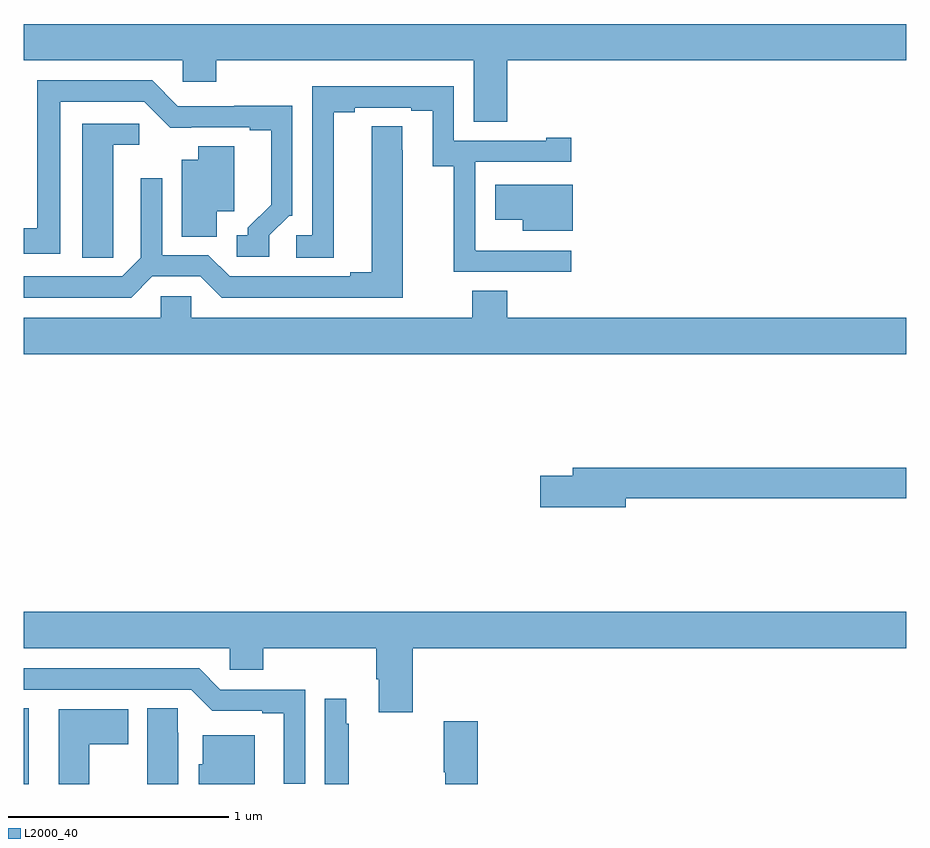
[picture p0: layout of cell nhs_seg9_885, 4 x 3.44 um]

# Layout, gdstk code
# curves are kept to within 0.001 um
import gdstk
lib = gdstk.Library(unit=1e-6, precision=1e-09)
def R(c, l, rs):  # rectangles x0, y0, x1, y1
    for r in rs: c.add(gdstk.rectangle(r[:2], r[2:], *l))
def P(c, l, *ps):  # polygons
    for p in ps: c.add(gdstk.Polygon(p, *l))
L2000_40 = (2000, 40)

nhs_seg9_885 = lib.new_cell('nhs_seg9_885')
R(nhs_seg9_885, L2000_40, [(159,1166.5,159.022,1166.843)])
P(nhs_seg9_885, L2000_40, [(161.192,1169.78),(163,1169.78),(163,1169.944),(159,1169.944),(159,1169.78),(159.72,1169.78),(159.72,1169.682),(159.872,1169.682),(159.872,1169.78),(161.039,1169.78),(161.039,1169.5),(161.192,1169.5)],
  [(160.113,1168.986),(160.203,1169.076),(160.218,1169.076),(160.218,1169.573),(159.955,1169.573),(159.955,1169.571),(159.699,1169.571),(159.582,1169.688),(159.062,1169.688),(159.062,1169.018),(159,1169.018),(159,1168.902),(159.166,1168.902),(159.166,1169.592),(159.546,1169.592),(159.664,1169.474),(160.025,1169.475),(160.025,1169.463),(160.121,1169.463),(160.121,1169.126),(160.016,1169.021),(160.016,1168.986),(159.966,1168.986),(159.966,1168.89),(160.113,1168.89)],
  [(161.482,1168.917),(161.048,1168.917),(161.048,1168.918),(161.046,1168.918),(161.046,1169.319),(161.482,1169.319),(161.482,1169.428),(161.369,1169.428),(161.369,1169.415),(160.95,1169.415),(160.95,1169.661),(160.308,1169.661),(160.308,1168.986),(160.236,1168.986),(160.236,1168.885),(160.405,1168.885),(160.405,1169.545),(160.501,1169.545),(160.501,1169.565),(160.757,1169.565),(160.757,1169.55),(160.853,1169.55),(160.853,1169.299),(160.948,1169.299),(160.948,1168.821),(161.482,1168.821)],
  [(159.405,1168.993),(159.406,1168.993),(159.406,1169.396),(159.523,1169.396),(159.523,1169.493),(159.266,1169.493),(159.266,1168.885),(159.405,1168.885)],
  [(159.583,1168.8),(159.801,1168.8),(159.897,1168.704),(160.717,1168.704),(160.716,1169.48),(160.577,1169.48),(160.577,1168.82),(160.481,1168.82),(160.481,1168.8),(159.933,1168.8),(159.837,1168.896),(159.627,1168.896),(159.627,1169.245),(159.531,1169.245),(159.531,1168.884),(159.447,1168.8),(159,1168.8),(159,1168.704),(159.487,1168.704)],
  [(159.874,1169.096),(159.955,1169.096),(159.955,1169.39),(159.791,1169.39),(159.791,1169.329),(159.716,1169.329),(159.716,1168.981),(159.874,1168.981)],
  [(161.488,1169.215),(161.136,1169.215),(161.136,1169.057),(161.261,1169.057),(161.261,1169.006),(161.488,1169.006)],
  [(163,1168.612),(161.192,1168.612),(161.192,1168.736),(161.032,1168.736),(161.032,1168.612),(159.759,1168.612),(159.759,1168.71),(159.621,1168.71),(159.621,1168.612),(159,1168.612),(159,1168.448),(163,1168.448)],
  [(161.728,1167.796),(163,1167.796),(163,1167.932),(161.489,1167.932),(161.489,1167.896),(161.34,1167.896),(161.34,1167.754),(161.728,1167.754)],
  [(160.763,1167.116),(163,1167.116),(163,1167.28),(159,1167.28),(159,1167.116),(159.933,1167.116),(159.933,1167.018),(160.085,1167.018),(160.085,1167.116),(160.598,1167.116),(160.598,1166.974),(160.61,1166.974),(160.61,1166.826),(160.763,1166.826)],
  [(160.275,1166.928),(159.891,1166.928),(159.795,1167.024),(159,1167.024),(159,1166.928),(159.759,1166.928),(159.855,1166.832),(160.082,1166.832),(160.082,1166.82),(160.178,1166.82),(160.178,1166.502),(160.275,1166.502)],
  [(160.474,1166.774),(160.462,1166.774),(160.462,1166.887),(160.365,1166.887),(160.365,1166.5),(160.474,1166.5)],
  [(159.7,1166.732),(159.699,1166.732),(159.699,1166.843),(159.56,1166.843),(159.56,1166.5),(159.7,1166.5)],
  [(159.298,1166.68),(159.475,1166.68),(159.475,1166.839),(159.158,1166.839),(159.158,1166.5),(159.298,1166.5)],
  [(161.057,1166.785),(160.903,1166.785),(160.903,1166.554),(160.91,1166.554),(160.91,1166.5),(161.057,1166.5)],
  [(160.048,1166.722),(159.812,1166.722),(159.812,1166.589),(159.794,1166.589),(159.794,1166.5),(160.048,1166.5)])

lib.write_gds('nhs_seg9_885.gds')
